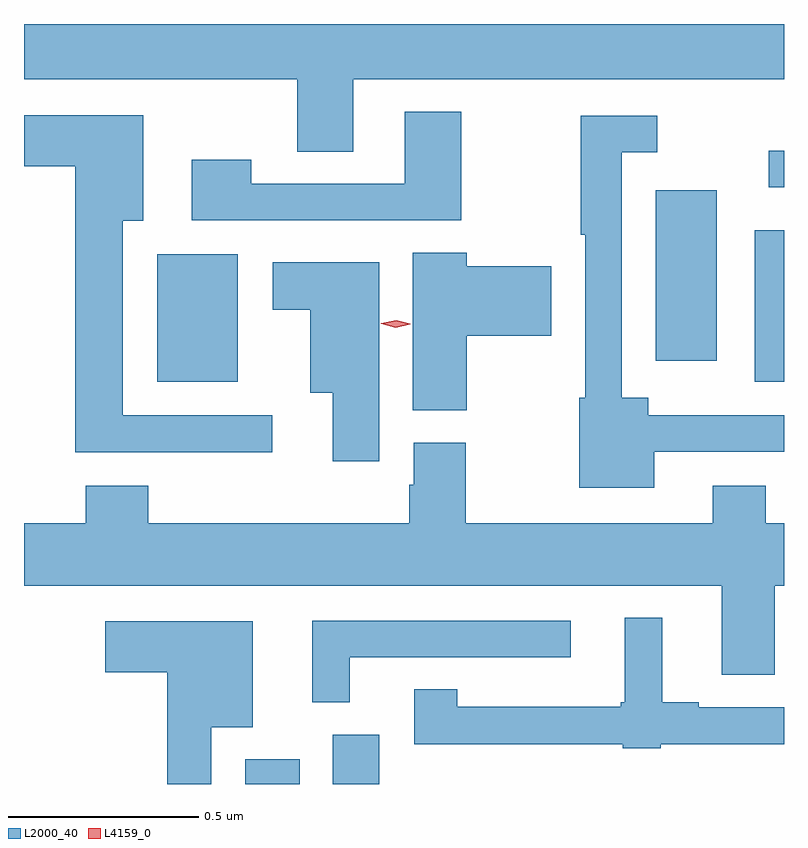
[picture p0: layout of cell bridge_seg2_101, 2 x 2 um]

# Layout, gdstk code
import gdstk
lib = gdstk.Library(unit=1e-6, precision=1e-09)
def R(c, l, rs):  # rectangles x0, y0, x1, y1
    for r in rs: c.add(gdstk.rectangle(r[:2], r[2:], *l))
def P(c, l, *ps):  # polygons
    for p in ps: c.add(gdstk.Polygon(p, *l))
L2000_40 = (2000, 40)
L4159_0 = (4159, 0)

bridge_seg2_101 = lib.new_cell('bridge_seg2_101')
R(bridge_seg2_101, L2000_40, [(589.151,631.13,589.294,631.195), (589.382,631.13,589.504,631.26), (588.92,632.189,589.132,632.524), (590.492,632.189,590.569,632.587), (590.231,632.244,590.392,632.692), (590.529,632.7,590.569,632.796)])
P(bridge_seg2_101, L2000_40, [(589.435,632.984),(590.569,632.984),(590.569,633.13),(588.569,633.13),(588.569,632.984),(589.288,632.984),(589.288,632.794),(589.435,632.794)],
  [(589.719,632.899),(589.571,632.899),(589.571,632.709),(589.167,632.709),(589.167,632.773),(589.011,632.773),(589.011,632.613),(589.719,632.613)],
  [(589.222,632.1),(588.829,632.1),(588.829,632.612),(588.883,632.612),(588.883,632.89),(588.569,632.89),(588.569,632.756),(588.704,632.756),(588.704,632.003),(589.222,632.003)],
  [(590.227,632.004),(590.569,632.004),(590.569,632.1),(590.212,632.1),(590.212,632.146),(590.142,632.146),(590.142,632.793),(590.236,632.793),(590.236,632.889),(590.034,632.889),(590.034,632.575),(590.046,632.575),(590.046,632.146),(590.03,632.146),(590.03,631.91),(590.227,631.91)],
  [(589.734,632.309),(589.957,632.309),(589.957,632.492),(589.734,632.492),(589.734,632.528),(589.592,632.528),(589.592,632.113),(589.734,632.113)],
  [(589.504,632.503),(589.223,632.503),(589.223,632.378),(589.322,632.378),(589.322,632.159),(589.382,632.159),(589.382,631.98),(589.504,631.98)],
  [(590.545,631.652),(590.569,631.652),(590.569,631.816),(590.521,631.816),(590.521,631.915),(590.381,631.915),(590.381,631.816),(589.731,631.816),(589.731,632.028),(589.595,632.028),(589.595,631.917),(589.583,631.917),(589.583,631.816),(588.896,631.816),(588.896,631.915),(588.731,631.915),(588.731,631.816),(588.569,631.816),(588.569,631.652),(590.405,631.652),(590.405,631.417),(590.545,631.417)],
  [(590.244,631.235),(590.569,631.235),(590.569,631.332),(590.344,631.332),(590.344,631.345),(590.248,631.345),(590.248,631.567),(590.15,631.567),(590.15,631.345),(590.139,631.345),(590.139,631.333),(589.709,631.333),(589.709,631.379),(589.596,631.379),(589.596,631.235),(590.144,631.235),(590.144,631.224),(590.244,631.224)],
  [(589.426,631.464),(590.008,631.464),(590.008,631.56),(589.328,631.56),(589.328,631.345),(589.426,631.345)],
  [(589.062,631.28),(589.171,631.28),(589.171,631.558),(588.783,631.558),(588.783,631.424),(588.946,631.424),(588.946,631.13),(589.062,631.13)])
P(bridge_seg2_101, L4159_0, [(589.547,632.331),(589.509,632.341),(589.508,632.342),(589.509,632.342),(589.548,632.351),(589.586,632.341),(589.586,632.34),(589.586,632.34)])

lib.write_gds('bridge_seg2_101.gds')
